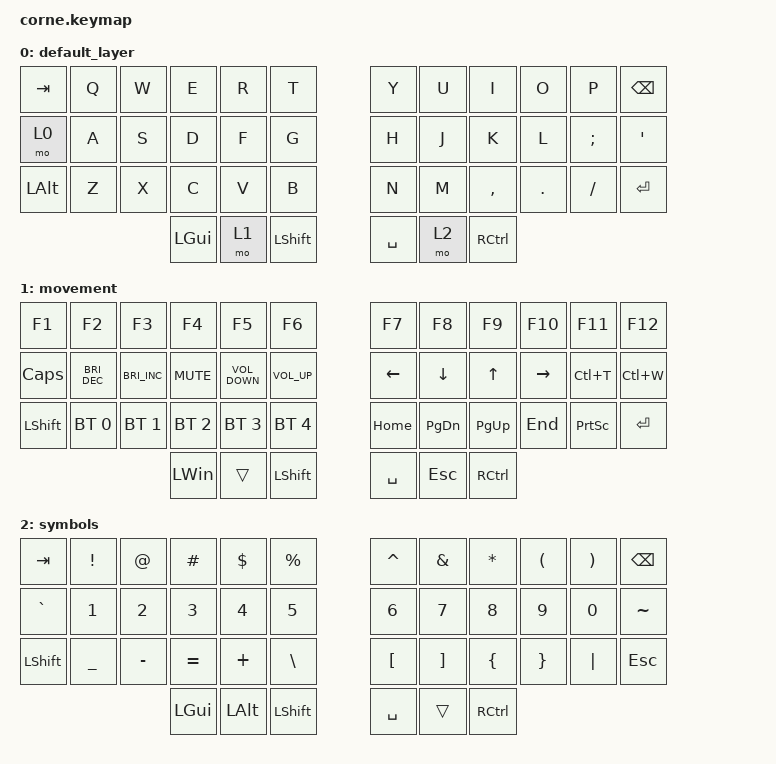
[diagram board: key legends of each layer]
/*
 * Copyright (c) 2020 The ZMK Contributors
 *
 * SPDX-License-Identifier: MIT
 */

#include <behaviors.dtsi>
#include <dt-bindings/zmk/bt.h>
#include <dt-bindings/zmk/keys.h>

/ {
    combos {
        compatible = "zmk,combos";

        bt_clr {
            bindings = <&bt BT_CLR>;
            key-positions = <0 1 2 3 9 10 11 8 40>;
            layers = <1>;
        };
    };

    keymap {
        compatible = "zmk,keymap";

        default_layer {
            // -----------------------------------------------------------------------------------------
            // |  TAB |  Q  |  W  |  E  |  R  |  T  |   |  Y  |  U   |  I  |  O  |  P  | BKSP |
            // | CTRL |  A  |  S  |  D  |  F  |  G  |   |  H  |  J   |  K  |  L  |  ;  |  '   |
            // | SHFT |  Z  |  X  |  C  |  V  |  B  |   |  N  |  M   |  ,  |  .  |  /  | ESC  |
            //                    | GUI | LWR | SPC |   | ENT | RSE  | ALT |

            bindings = <
&kp TAB       &kp Q  &kp W  &kp E     &kp R  &kp T             &kp Y      &kp U  &kp I      &kp O    &kp P     &kp BSPC
&mo 0         &kp A  &kp S  &kp D     &kp F  &kp G             &kp H      &kp J  &kp K      &kp L    &kp SEMI  &kp SQT
&kp LEFT_ALT  &kp Z  &kp X  &kp C     &kp V  &kp B             &kp N      &kp M  &kp COMMA  &kp DOT  &kp FSLH  &kp ENTER
                            &kp LGUI  &mo 1  &kp LEFT_SHIFT    &kp SPACE  &mo 2  &kp RCTRL
            >;
        };

        movement {
            // -----------------------------------------------------------------------------------------
            // |  TAB |  1  |  2  |  3  |  4  |  5  |   |  6  |  7  |  8  |  9  |  0  | BKSP |
            // | BTCLR| BT1 | BT2 | BT3 | BT4 | BT5 |   | LFT | DWN |  UP | RGT |     |      |
            // | SHFT |     |     |     |     |     |   |     |     |     |     |     |      |
            //                    | GUI |     | SPC |   | ENT |     | ALT |

            bindings = <
&kp F1          &kp F2                &kp F3                &kp F4        &kp F5             &kp F6             &kp F7     &kp F8         &kp F9       &kp F10    &kp F11          &kp F12
&kp CAPS        &kp C_BRIGHTNESS_DEC  &kp C_BRIGHTNESS_INC  &kp K_MUTE    &kp C_VOLUME_DOWN  &kp C_VOLUME_UP    &kp LEFT   &kp DOWN       &kp UP       &kp RIGHT  &kp LC(T)        &kp LC(W)
&kp LEFT_SHIFT  &bt BT_SEL 0          &bt BT_SEL 1          &bt BT_SEL 2  &bt BT_SEL 3       &bt BT_SEL 4       &kp HOME   &kp PAGE_DOWN  &kp PAGE_UP  &kp END    &kp PRINTSCREEN  &kp ENTER
                                                            &kp LEFT_WIN  &trans             &kp LEFT_SHIFT     &kp SPACE  &kp ESCAPE     &kp RCTRL
            >;
        };

        symbols {
            // -----------------------------------------------------------------------------------------
            // |  TAB |  !  |  @  |  #  |  $  |  %  |   |  ^  |  &  |  *  |  (  |  )  | BKSP |
            // | CTRL |     |     |     |     |     |   |  -  |  =  |  [  |  ]  |  \  |  `   |
            // | SHFT |     |     |     |     |     |   |  _  |  +  |  {  |  }  | "|" |  ~   |
            //                    | GUI |     | SPC |   | ENT |     | ALT |

            bindings = <
&kp TAB    &kp EXCL        &kp AT        &kp HASH      &kp DLLR      &kp PRCNT         &kp CARET         &kp AMPS           &kp ASTRK       &kp LPAR         &kp RPAR  &kp BACKSPACE
&kp GRAVE  &kp NUMBER_1    &kp NUMBER_2  &kp NUMBER_3  &kp NUMBER_4  &kp NUMBER_5      &kp NUMBER_6      &kp N7             &kp N8          &kp N9           &kp N0    &kp TILDE
&kp LSHFT  &kp UNDERSCORE  &kp MINUS     &kp EQUAL     &kp PLUS      &kp BSLH          &kp LEFT_BRACKET  &kp RIGHT_BRACKET  &kp LEFT_BRACE  &kp RIGHT_BRACE  &kp PIPE  &kp ESC
                                         &kp LGUI      &kp LEFT_ALT  &kp LEFT_SHIFT    &kp SPACE         &trans             &kp RCTRL
            >;
        };
    };

    conditional_layers { compatible = "zmk,conditional-layers"; };
};
